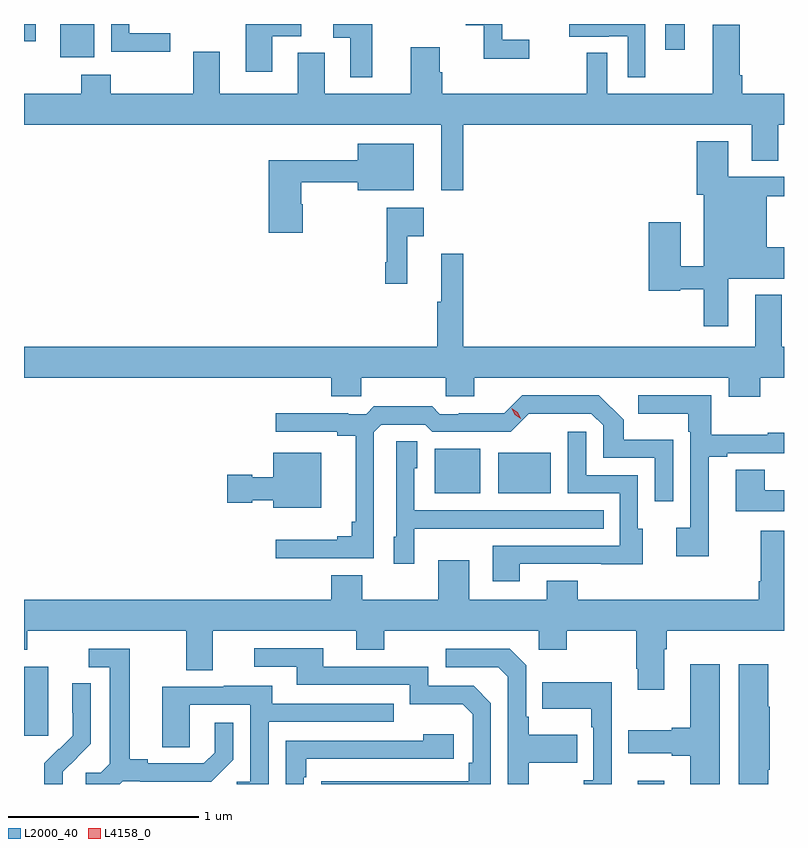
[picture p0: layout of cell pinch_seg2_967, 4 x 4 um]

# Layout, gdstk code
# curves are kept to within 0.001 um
import gdstk
lib = gdstk.Library(unit=1e-6, precision=1e-09)
def R(c, l, rs):  # rectangles x0, y0, x1, y1
    for r in rs: c.add(gdstk.rectangle(r[:2], r[2:], *l))
def P(c, l, *ps):  # polygons
    for p in ps: c.add(gdstk.Polygon(p, *l))
L2000_40 = (2000, 40)
L4158_0 = (4158, 0)

pinch_seg2_967 = lib.new_cell('pinch_seg2_967')
R(pinch_seg2_967, L2000_40, [(171.047,650.826,171.187,650.842), (167.817,651.081,167.944,651.442), (169.979,652.355,170.218,652.591), (170.312,652.355,170.59,652.57), (168.008,654.65,168.187,654.826), (171.191,654.69,171.295,654.826), (167.817,654.736,167.88,654.826)])
P(pinch_seg2_967, L2000_40, [(171.087,654.825),(171.086,654.826),(170.687,654.826),(170.687,654.759),(170.894,654.759),(170.894,654.762),(170.994,654.762),(170.994,654.545),(171.087,654.545)],
  [(169.123,654.761),(169.276,654.761),(169.276,654.826),(168.983,654.826),(168.983,654.576),(169.123,654.576)],
  [(169.651,654.826),(169.445,654.826),(169.445,654.754),(169.535,654.754),(169.535,654.546),(169.651,654.546)],
  [(168.586,654.777),(168.372,654.777),(168.372,654.826),(168.276,654.826),(168.276,654.679),(168.586,654.679)],
  [(170.476,654.742),(170.334,654.742),(170.334,654.826),(170.141,654.826),(170.141,654.819),(170.236,654.819),(170.236,654.644),(170.476,654.644)],
  [(170.129,654.296),(171.647,654.296),(171.647,654.106),(171.787,654.106),(171.787,654.296),(171.817,654.296),(171.817,654.46),(171.596,654.46),(171.596,654.556),(171.583,654.556),(171.583,654.823),(171.443,654.823),(171.443,654.46),(170.886,654.46),(170.886,654.674),(170.778,654.674),(170.778,654.46),(170.018,654.46),(170.018,654.573),(170.005,654.573),(170.005,654.703),(169.853,654.703),(169.853,654.46),(169.399,654.46),(169.399,654.676),(169.259,654.676),(169.259,654.46),(168.847,654.46),(168.847,654.679),(168.707,654.679),(168.707,654.46),(168.273,654.46),(168.273,654.559),(168.118,654.559),(168.118,654.46),(167.817,654.46),(167.817,654.296),(170.012,654.296),(170.012,653.952),(170.129,653.952)],
  [(171.523,653.486),(171.817,653.486),(171.817,653.65),(171.727,653.65),(171.727,653.92),(171.817,653.92),(171.817,654.021),(171.523,654.021),(171.523,654.208),(171.359,654.208),(171.359,653.928),(171.395,653.928),(171.395,653.551),(171.274,653.551),(171.274,653.782),(171.104,653.782),(171.104,653.422),(171.27,653.422),(171.27,653.43),(171.395,653.43),(171.395,653.235),(171.523,653.235)],
  [(169.284,653.877),(169.276,653.877),(169.276,653.992),(169.574,653.992),(169.574,653.951),(169.867,653.951),(169.867,654.196),(169.574,654.196),(169.574,654.11),(169.106,654.11),(169.106,653.727),(169.284,653.727)],
  [(169.835,653.708),(169.921,653.708),(169.921,653.86),(169.725,653.86),(169.725,653.572),(169.717,653.572),(169.717,653.46),(169.835,653.46)],
  [(170.038,652.866),(170.188,652.866),(170.188,652.964),(171.527,652.964),(171.527,652.865),(171.691,652.865),(171.691,652.964),(171.817,652.964),(171.817,653.128),(171.805,653.128),(171.805,653.401),(171.665,653.401),(171.665,653.128),(170.129,653.128),(170.129,653.617),(170.012,653.617),(170.012,653.364),(169.993,653.364),(169.993,653.128),(167.817,653.128),(167.817,652.964),(169.433,652.964),(169.433,652.866),(169.593,652.866),(169.593,652.964),(170.038,652.964)],
  [(171.421,652.548),(171.517,652.548),(171.517,652.566),(171.817,652.566),(171.817,652.675),(171.731,652.675),(171.731,652.664),(171.433,652.664),(171.433,652.872),(171.051,652.872),(171.051,652.775),(171.312,652.775),(171.312,652.679),(171.324,652.679),(171.324,652.174),(171.249,652.174),(171.249,652.026),(171.421,652.026)],
  [(169.659,652.677),(169.698,652.716),(169.929,652.716),(169.965,652.68),(170.379,652.68),(170.474,652.775),(170.802,652.776),(170.865,652.713),(170.865,652.542),(171.138,652.542),(171.138,652.314),(171.234,652.314),(171.234,652.639),(170.973,652.639),(170.973,652.742),(170.842,652.872),(170.439,652.872),(170.345,652.778),(170.104,652.778),(170.104,652.773),(170.004,652.773),(169.965,652.813),(169.657,652.813),(169.617,652.773),(169.523,652.773),(169.523,652.778),(169.143,652.778),(169.143,652.68),(169.466,652.68),(169.466,652.658),(169.562,652.658),(169.562,652.207),(169.543,652.207),(169.543,652.13),(169.466,652.13),(169.466,652.111),(169.143,652.111),(169.143,652.014),(169.659,652.014)],
  [(170.425,651.984),(170.855,651.984),(170.855,651.983),(171.073,651.983),(171.073,652.17),(171.048,652.17),(171.048,652.452),(170.775,652.452),(170.775,652.681),(170.679,652.681),(170.679,652.356),(170.952,652.356),(170.952,652.08),(170.285,652.08),(170.285,651.894),(170.425,651.894)],
  [(169.872,652.169),(170.189,652.169),(170.189,652.17),(170.867,652.17),(170.867,652.266),(169.872,652.266),(169.872,652.488),(169.888,652.488),(169.888,652.631),(169.776,652.631),(169.776,652.128),(169.763,652.128),(169.763,651.984),(169.872,651.984)],
  [(169.381,652.57),(169.13,652.57),(169.13,652.441),(169.017,652.441),(169.017,652.454),(168.888,652.454),(168.888,652.307),(169.017,652.307),(169.017,652.319),(169.13,652.319),(169.13,652.28),(169.381,652.28)],
  [(171.817,652.372),(171.715,652.372),(171.715,652.481),(171.563,652.481),(171.563,652.262),(171.817,652.262)],
  [(169.597,651.925),(169.433,651.925),(169.433,651.796),(167.817,651.796),(167.817,651.533),(167.835,651.533),(167.835,651.632),(168.671,651.632),(168.671,651.424),(168.811,651.424),(168.811,651.632),(169.565,651.632),(169.565,651.533),(169.713,651.533),(169.713,651.632),(170.526,651.632),(170.526,651.533),(170.673,651.533),(170.673,651.632),(171.04,651.632),(171.04,651.433),(171.047,651.433),(171.047,651.321),(171.187,651.321),(171.187,651.536),(171.2,651.536),(171.2,651.632),(171.817,651.632),(171.817,652.159),(171.695,652.159),(171.695,651.892),(171.683,651.892),(171.683,651.796),(170.731,651.796),(170.731,651.895),(170.567,651.895),(170.567,651.796),(170.161,651.796),(170.161,652.003),(169.997,652.003),(169.997,651.796),(169.597,651.796)],
  [(170.274,651.252),(170.184,651.342),(169.944,651.342),(169.944,651.444),(169.393,651.444),(169.393,651.54),(169.029,651.54),(169.029,651.444),(169.253,651.444),(169.253,651.348),(169.848,651.348),(169.848,651.245),(170.125,651.245),(170.178,651.192),(170.178,650.938),(170.158,650.938),(170.158,650.841),(169.381,650.84),(169.381,650.826),(170.274,650.826)],
  [(170.473,650.938),(170.729,650.938),(170.729,651.085),(170.473,651.085),(170.473,651.181),(170.46,651.181),(170.46,651.45),(170.373,651.537),(170.037,651.537),(170.037,651.441),(170.313,651.441),(170.364,651.39),(170.364,650.826),(170.473,650.826)],
  [(168.336,650.841),(168.43,650.841),(168.43,650.838),(168.802,650.838),(168.918,650.954),(168.918,651.148),(168.821,651.148),(168.821,650.991),(168.764,650.934),(168.469,650.934),(168.469,650.957),(168.373,650.957),(168.373,651.537),(168.159,651.537),(168.159,651.441),(168.269,651.441),(168.269,650.933),(168.222,650.886),(168.141,650.886),(168.141,650.826),(168.321,650.826)],
  [(171.733,650.902),(171.741,650.902),(171.741,651.233),(171.733,651.233),(171.733,651.457),(171.578,651.457),(171.578,650.826),(171.733,650.826)],
  [(171.478,651.457),(171.323,651.457),(171.323,651.122),(171.227,651.122),(171.227,651.109),(170.997,651.109),(170.997,650.987),(171.227,650.987),(171.227,650.975),(171.323,650.975),(171.323,650.826),(171.478,650.826)],
  [(170.91,651.361),(170.545,651.361),(170.545,651.221),(170.802,651.221),(170.802,651.125),(170.814,651.125),(170.814,650.846),(170.763,650.846),(170.763,650.826),(170.91,650.826)],
  [(168.022,650.89),(168.168,651.038),(168.168,651.356),(168.072,651.356),(168.072,651.202),(168.074,651.202),(168.074,651.08),(168.003,651.009),(168,651.012),(167.923,650.935),(167.923,650.826),(168.022,650.826)],
  [(169.104,651.153),(169.763,651.153),(169.763,651.249),(169.123,651.249),(169.123,651.343),(168.869,651.343),(168.869,651.339),(168.545,651.339),(168.545,651.019),(168.69,651.019),(168.69,651.243),(169.008,651.243),(169.008,650.838),(168.936,650.838),(168.936,650.826),(169.104,650.826)],
  [(169.29,650.861),(169.303,650.861),(169.303,650.958),(170.08,650.958),(170.08,651.088),(169.919,651.088),(169.919,651.054),(169.194,651.054),(169.194,650.826),(169.29,650.826)])
P(pinch_seg2_967, L4158_0, [(170.431,652.749),(170.4,652.77),(170.385,652.804),(170.385,652.804),(170.385,652.804),(170.416,652.783),(170.431,652.749),(170.431,652.749)])

lib.write_gds('pinch_seg2_967.gds')
